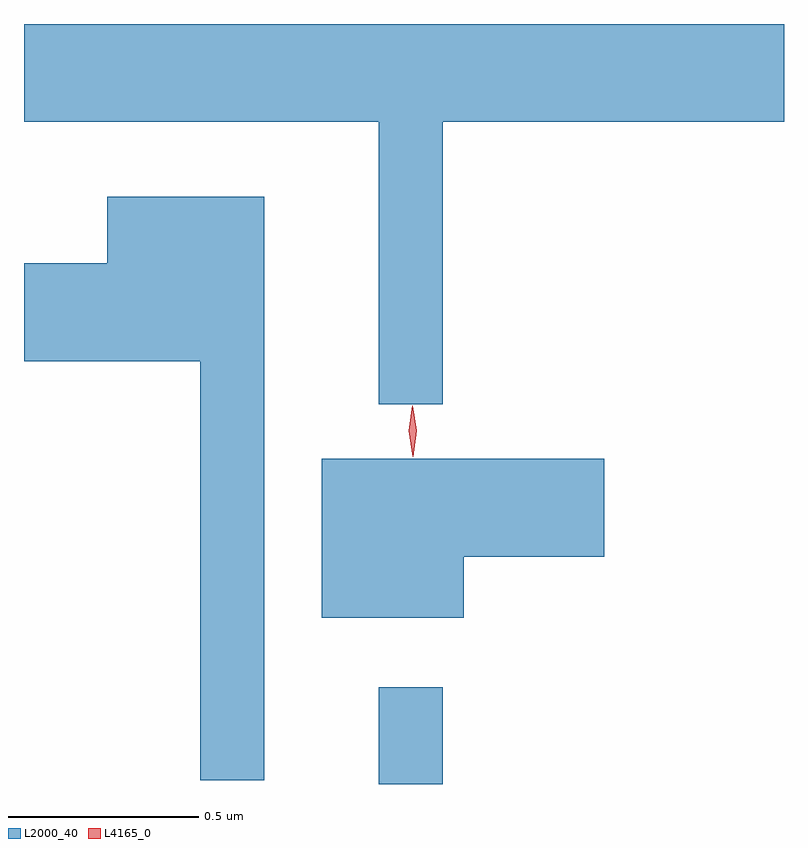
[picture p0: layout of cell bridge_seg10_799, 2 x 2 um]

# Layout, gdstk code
import gdstk
lib = gdstk.Library(unit=1e-6, precision=1e-09)
def R(c, l, rs):  # rectangles x0, y0, x1, y1
    for r in rs: c.add(gdstk.rectangle(r[:2], r[2:], *l))
def P(c, l, *ps):  # polygons
    for p in ps: c.add(gdstk.Polygon(p, *l))
L2000_40 = (2000, 40)
L4165_0 = (4165, 0)

bridge_seg10_799 = lib.new_cell('bridge_seg10_799')
R(bridge_seg10_799, L2000_40, [(512.751,2134.373,512.919,2134.628)])
P(bridge_seg10_799, L2000_40, [(512.919,2136.116),(513.817,2136.116),(513.817,2136.373),(511.817,2136.373),(511.817,2136.116),(512.751,2136.116),(512.751,2135.373),(512.919,2135.373)],
  [(512.449,2135.919),(512.036,2135.919),(512.036,2135.744),(511.817,2135.744),(511.817,2135.486),(512.281,2135.486),(512.281,2134.383),(512.449,2134.383)],
  [(512.974,2134.971),(513.344,2134.971),(513.344,2135.229),(512.601,2135.229),(512.601,2134.811),(512.974,2134.811)])
P(bridge_seg10_799, L4165_0, [(512.84,2135.234),(512.84,2135.234),(512.83,2135.302),(512.839,2135.369),(512.84,2135.369),(512.84,2135.369),(512.85,2135.302),(512.841,2135.234)],
  [(512.84,2135.24),(512.84,2135.241),(512.83,2135.303),(512.839,2135.365),(512.84,2135.366),(512.84,2135.365),(512.85,2135.303),(512.841,2135.241)])

lib.write_gds('bridge_seg10_799.gds')
